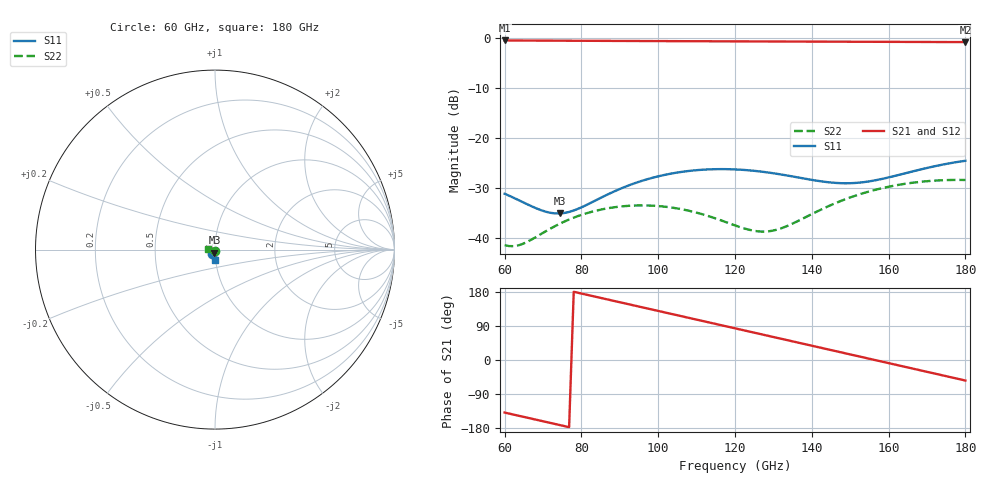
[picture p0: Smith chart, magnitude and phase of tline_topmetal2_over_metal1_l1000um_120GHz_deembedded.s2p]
! Created with skrf 2.0.1 (http://scikit-rf.org).
# GHz S DB R 50.0
!freq dBS11 angS11 dBS21 angS21 dBS12 angS12 dBS22 angS22
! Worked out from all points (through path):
!   101 points, 60 GHz to 180 GHz, reference 50 ohm
!   highest |S21| = -0.58 dB at 60 GHz (marker M1); lowest = -0.9 dB at 180 GHz (marker M2)
!   group delay of S21, straight-line fit = 6.38 ps
!   lowest |S11| = -35.1 dB at 74.4 GHz (marker M3), VSWR 1.04, Z = 49.7 - j1.71 ohm
!   |S11| at or under -10 dB: start of sweep to end of sweep
!   |S22| runs from -41.7 to -28.4 dB; largest |S21 - S12| = 1.1e-14
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60  -31.18 -125.4  -0.58 -138.7  -0.58 -138.7  -41.44 -108.2
62.4  -32.01 -125.4  -0.59 -144.2  -0.59 -144.2  -41.65 -98.9
64.8  -32.88 -124.0  -0.60 -149.7  -0.60 -149.7  -41.17 -90.6
70.8  -34.79 -112.3  -0.62 -163.5  -0.62 -163.5  -38.64 -83.1
74.4  -35.12 -100.5  -0.63 -171.8  -0.63 -171.8  -37.16 -85.8
80.4  -33.76 -83.1  -0.65 174.5  -0.65 174.5  -35.30 -96.5
85.2  -31.94 -77.0  -0.66 163.5  -0.66 163.5  -34.33 -108.1
90  -30.24 -76.2  -0.68 152.4  -0.68 152.4  -33.75 -121.3
100.8  -27.57 -83.6  -0.71 127.7  -0.71 127.7  -33.70 -155.6
110.4  -26.45 -93.7  -0.74 105.6  -0.74 105.6  -35.04 167.6
115.2  -26.28 -98.7  -0.75 94.6  -0.75 94.6  -36.18 145.3
120  -26.33 -103.3  -0.77 83.6  -0.77 83.6  -37.50 118.4
124.8  -26.59 -107.1  -0.78 72.6  -0.78 72.6  -38.56 85.2
129.6  -27.05 -109.7  -0.79 61.6  -0.79 61.6  -38.59 47.5
133.2  -27.49 -110.6  -0.80 53.3  -0.80 53.3  -37.75 20.2
140.4  -28.47 -108.6  -0.81 36.8  -0.81 36.8  -35.09 -24.7
146.4  -29.03 -102.7  -0.83 23.0  -0.83 23.0  -32.99 -54.0
151.2  -29.04 -96.2  -0.84 12.0  -0.84 12.0  -31.61 -74.6
156  -28.58 -90.1  -0.85 1.0  -0.85 1.0  -30.51 -93.8
160.8  -27.78 -85.8  -0.86 -10.1  -0.86 -10.1  -29.66 -112.3
170.4  -25.97 -83.8  -0.89 -32.1  -0.89 -32.1  -28.66 -148.4
180  -24.60 -87.8  -0.91 -54.2  -0.91 -54.2  -28.44 174.9
